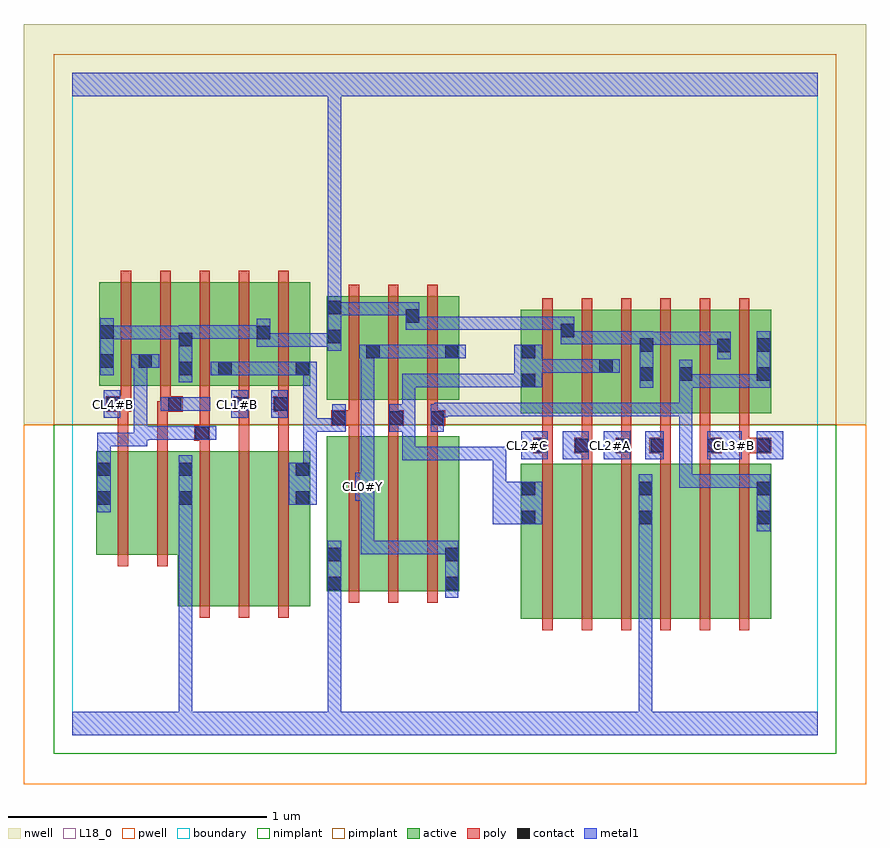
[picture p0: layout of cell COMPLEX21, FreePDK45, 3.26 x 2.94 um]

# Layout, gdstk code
import gdstk
lib = gdstk.Library(unit=1e-6, precision=1e-09)
def R(c, l, rs):  # rectangles x0, y0, x1, y1
    for r in rs: c.add(gdstk.rectangle(r[:2], r[2:], *l))
def A(c, l, x, y, w, h, nx, ny, dx, dy):  # array of equal rectangles
    R(c, l, [(x+i*dx, y+j*dy, x+i*dx+w, y+j*dy+h) for i in range(nx) for j in range(ny)])
active = (1, 0)
pwell = (2, 0)
nwell = (3, 0)
nimplant = (4, 0)
pimplant = (5, 0)
poly = (9, 0)
contact = (10, 0)
metal1 = (11, 0)
L18_0 = (18, 0)
boundary = (235, 0)

complex21 = lib.new_cell('COMPLEX21')
R(complex21, active, [(1.732,0.45,1.792,1.05), (1.732,0.45,1.912,1.05), (1.912,0.45,2.064,1.05), (2.064,0.45,2.244,1.05), (2.184,0.45,2.368,1.05), (2.184,0.45,2.244,0.984), (2.368,0.45,2.52,1.05), (2.52,0.45,2.7,1.05), (2.64,0.45,2.7,1.05), (0.408,0.498,0.468,1.098), (0.408,0.498,0.588,1.098), (0.588,0.498,0.74,1.098), (0.74,0.498,0.92,1.098), (0.86,0.556,0.92,1.098), (0.984,0.556,1.044,1.156), (0.984,0.556,1.164,1.156), (1.164,0.556,1.316,1.156), (1.316,0.556,1.496,1.156), (1.436,0.556,1.496,1.156), (0.092,0.698,0.272,1.098), (0.092,0.698,0.152,1.098), (0.272,0.698,0.468,1.098), (1.732,1.244,1.792,1.644), (1.732,1.244,1.944,1.644), (1.884,1.244,1.944,1.644), (1.884,1.244,2.092,1.644), (2.032,1.244,2.248,1.644), (2.188,1.244,2.248,1.644), (2.188,1.244,2.4,1.644), (2.34,1.244,2.548,1.644), (2.488,1.244,2.7,1.644), (2.64,1.244,2.7,1.644), (0.984,1.296,1.044,1.696), (0.984,1.296,1.192,1.696), (1.132,1.296,1.344,1.696), (1.284,1.296,1.496,1.696), (1.436,1.296,1.496,1.644), (0.104,1.35,0.312,1.75), (0.104,1.35,0.164,1.644), (0.252,1.35,0.468,1.75), (0.252,1.35,0.312,1.644), (0.408,1.35,0.62,1.75), (0.408,1.35,0.468,1.644), (0.56,1.35,0.768,1.75), (0.56,1.35,0.62,1.644), (0.708,1.35,0.92,1.75), (0.708,1.35,0.768,1.644), (0.86,1.35,0.92,1.644), (2.34,1.366,2.4,1.644), (2.032,1.396,2.092,1.644), (1.132,1.452,1.192,1.644), (2.488,1.476,2.548,1.644), (1.284,1.572,1.344,1.696)])
R(complex21, pwell, [(-0.188,-0.188,3.068,1.2)])
R(complex21, nwell, [(-0.188,1.2,3.068,2.748)])
R(complex21, nimplant, [(-0.072,-0.072,2.952,1.2)])
R(complex21, pimplant, [(-0.072,1.2,2.952,2.632)])
A(complex21, poly, 1.816, 0.406, 0.04, 0.688, 6, 1, 0.152, 0)
A(complex21, poly, 0.492, 0.454, 0.04, 0.688, 3, 1, 0.152, 0)
A(complex21, poly, 1.068, 0.512, 0.04, 0.688, 3, 1, 0.152, 0)
A(complex21, poly, 1.816, 1.054, 0.04, 0.076, 6, 1, 0.152, 0)
A(complex21, poly, 1.816, 1.11, 0.04, 0.13, 6, 1, 0.152, 0)
A(complex21, poly, 1.068, 1.16, 0.04, 0.076, 3, 2, 0.152, 0.056)
A(complex21, poly, 1.816, 1.2, 0.04, 0.488, 6, 1, 0.152, 0)
A(complex21, poly, 1.068, 1.252, 0.04, 0.488, 3, 1, 0.152, 0)
A(complex21, poly, 0.188, 1.306, 0.04, 0.488, 5, 1, 0.152, 0)
R(complex21, poly, [(0.176,0.654,0.216,1.142), (0.328,0.654,0.368,1.142), (1.78,1.09,1.856,1.15), (1.94,1.09,2.008,1.15), (2.1,1.09,2.16,1.15), (2.23,1.09,2.312,1.15), (2.424,1.09,2.464,1.13), (2.424,1.09,2.464,1.13), (2.424,1.09,2.51,1.15), (2.576,1.09,2.616,1.13), (2.576,1.09,2.616,1.13), (2.576,1.09,2.7,1.15), (0.176,1.102,0.216,1.29), (0.328,1.102,0.368,1.29), (0.492,1.102,0.532,1.178), (0.644,1.102,0.684,1.29), (0.796,1.102,0.836,1.29), (1.816,1.11,1.856,1.15), (1.816,1.11,1.856,1.15), (1.968,1.11,2.008,1.15), (1.968,1.11,2.008,1.15), (2.12,1.11,2.16,1.15), (2.12,1.11,2.16,1.15), (2.272,1.11,2.312,1.15), (2.272,1.11,2.312,1.15), (0.472,1.138,0.532,1.198), (0.492,1.158,0.532,1.198), (0.492,1.158,0.532,1.198), (0.492,1.158,0.532,1.346), (1,1.196,1.108,1.256), (1.068,1.196,1.108,1.236), (1.068,1.196,1.108,1.236), (1.22,1.196,1.28,1.256), (1.372,1.196,1.412,1.236), (1.372,1.196,1.412,1.236), (1.372,1.196,1.44,1.256), (1.22,1.216,1.26,1.256), (1.22,1.216,1.26,1.256), (0.13,1.25,0.228,1.31), (0.176,1.25,0.216,1.29), (0.176,1.25,0.216,1.29), (0.328,1.25,0.38,1.29), (0.34,1.25,0.38,1.29), (0.34,1.25,0.426,1.31), (0.624,1.25,0.684,1.31), (0.776,1.25,0.836,1.31), (0.796,1.25,0.836,1.29), (0.796,1.25,0.836,1.29), (0.188,1.27,0.228,1.346), (0.34,1.27,0.38,1.346), (0.644,1.27,0.684,1.31), (0.644,1.27,0.684,1.31), (0.644,1.27,0.684,1.346), (0.796,1.27,0.836,1.346)])
A(complex21, contact, 1.784, 1.094, 0.052, 0.052, 3, 1, 0.16, 0)
R(complex21, contact, [(0.988,0.56,1.04,0.612), (1.44,0.56,1.492,0.612), (0.988,0.672,1.04,0.724), (1.44,0.672,1.492,0.724), (1.736,0.816,1.788,0.868), (2.188,0.816,2.24,0.868), (2.644,0.816,2.696,0.868), (0.096,0.89,0.148,0.942), (0.412,0.89,0.464,0.942), (0.864,0.89,0.916,0.942), (1.736,0.928,1.788,0.98), (2.188,0.928,2.24,0.98), (2.644,0.928,2.696,0.98), (0.096,1.002,0.148,1.054), (0.412,1.002,0.464,1.054), (0.864,1.002,0.916,1.054), (2.234,1.094,2.286,1.146), (2.454,1.094,2.506,1.146), (2.644,1.094,2.696,1.146), (0.476,1.142,0.528,1.194), (1.004,1.2,1.056,1.252), (1.224,1.2,1.276,1.252), (1.384,1.2,1.436,1.252), (0.134,1.254,0.186,1.306), (0.37,1.254,0.422,1.306), (0.628,1.254,0.68,1.306), (0.78,1.254,0.832,1.306), (1.736,1.344,1.788,1.396), (2.192,1.37,2.244,1.422), (2.344,1.37,2.396,1.422), (2.644,1.37,2.696,1.422), (0.412,1.392,0.464,1.444), (0.564,1.392,0.616,1.444), (0.864,1.392,0.916,1.444), (2.036,1.4,2.088,1.452), (0.108,1.42,0.16,1.472), (0.256,1.42,0.308,1.472), (1.136,1.456,1.188,1.508), (1.44,1.456,1.492,1.508), (1.736,1.456,1.788,1.508), (2.492,1.48,2.544,1.532), (2.192,1.482,2.244,1.534), (2.644,1.482,2.696,1.534), (0.412,1.504,0.464,1.556), (0.988,1.514,1.04,1.566), (0.712,1.53,0.764,1.582), (0.108,1.532,0.16,1.584), (1.888,1.538,1.94,1.59), (1.288,1.594,1.34,1.646), (0.988,1.626,1.04,1.678)])
A(complex21, metal1, 1.734, 1.066, 0.102, 0.108, 3, 1, 0.16, 0)
R(complex21, metal1, [(0,0,2.88,0.092), (0.412,0.04,0.464,0.914), (0.988,0.04,1.04,0.092), (0.988,0.04,1.04,0.092), (0.988,0.04,1.04,0.092), (0.988,0.04,1.04,0.092), (0.988,0.04,1.04,0.092), (0.988,0.04,1.04,0.092), (0.988,0.04,1.04,0.092), (0.988,0.04,1.04,0.092), (0.988,0.04,1.04,0.584), (2.188,0.04,2.24,0.84), (0.988,0.532,1.04,0.752), (1.44,0.532,1.492,0.752), (1.114,0.7,1.166,0.752), (1.114,0.7,1.326,0.752), (1.114,0.7,1.166,0.958), (1.274,0.7,1.326,0.752), (1.274,0.7,1.326,0.752), (1.274,0.7,1.326,0.752), (1.274,0.7,1.492,0.752), (1.44,0.7,1.492,0.752), (1.44,0.7,1.492,0.752), (2.188,0.788,2.24,0.84), (2.188,0.788,2.24,0.84), (2.188,0.788,2.24,0.84), (2.188,0.788,2.24,0.84), (2.188,0.788,2.24,0.84), (2.188,0.788,2.24,0.84), (2.188,0.788,2.24,0.84), (2.188,0.788,2.24,0.84), (2.188,0.788,2.24,1.008), (2.644,0.788,2.696,1.008), (1.624,0.816,1.816,0.98), (0.096,0.862,0.148,1.082), (0.412,0.862,0.464,0.914), (0.412,0.862,0.464,0.914), (0.412,0.862,0.464,0.914), (0.412,0.862,0.464,0.914), (0.412,0.862,0.464,0.914), (0.412,0.862,0.464,0.914), (0.412,0.862,0.464,0.914), (0.412,0.862,0.464,0.914), (0.412,0.862,0.464,1.082), (0.836,0.89,0.944,1.054), (1.094,0.906,1.166,1.014), (1.624,0.928,1.676,1.114), (2.344,0.956,2.396,1.008), (2.344,0.956,2.586,1.008), (2.344,0.956,2.396,1.284), (2.534,0.956,2.586,1.008), (2.534,0.956,2.586,1.008), (2.534,0.956,2.586,1.008), (2.534,0.956,2.696,1.008), (2.644,0.956,2.696,1.008), (2.644,0.956,2.696,1.008), (2.644,0.956,2.696,1.008), (2.644,0.956,2.696,1.008), (1.114,0.962,1.166,1.508), (0.892,1.002,0.944,1.054), (0.892,1.002,0.944,1.054), (0.892,1.002,0.944,1.224), (0.096,1.03,0.148,1.168), (1.274,1.062,1.326,1.224), (1.274,1.062,1.566,1.114), (1.514,1.062,1.566,1.114), (1.514,1.062,1.566,1.114), (1.514,1.062,1.566,1.114), (1.514,1.062,1.676,1.114), (1.624,1.062,1.676,1.114), (2.214,1.066,2.286,1.174), (2.454,1.066,2.586,1.174), (2.644,1.066,2.746,1.174), (0.096,1.116,0.148,1.168), (0.096,1.116,0.148,1.168), (0.096,1.116,0.148,1.168), (0.096,1.116,0.29,1.168), (0.238,1.116,0.29,1.192), (0.238,1.14,0.29,1.192), (0.238,1.14,0.29,1.192), (0.238,1.14,0.296,1.192), (0.238,1.14,0.29,1.472), (0.244,1.14,0.296,1.194), (0.244,1.142,0.464,1.194), (0.412,1.142,0.464,1.194), (0.412,1.142,0.5,1.194), (0.448,1.142,0.556,1.194), (0.892,1.172,0.944,1.224), (0.892,1.172,0.944,1.224), (0.892,1.172,0.944,1.224), (0.892,1.172,1.056,1.224), (0.892,1.172,0.944,1.444), (1.004,1.172,1.056,1.28), (1.224,1.172,1.276,1.28), (1.224,1.172,1.326,1.224), (1.274,1.172,1.326,1.396), (1.384,1.172,1.436,1.28), (0.122,1.226,0.186,1.334), (0.614,1.226,0.68,1.334), (0.768,1.226,0.832,1.334), (1.384,1.228,1.45,1.28), (1.398,1.228,1.45,1.284), (1.398,1.232,1.83,1.284), (1.778,1.232,1.83,1.284), (1.778,1.232,1.83,1.284), (1.778,1.232,1.83,1.284), (1.778,1.232,1.95,1.284), (1.898,1.232,1.95,1.284), (1.898,1.232,1.95,1.284), (1.898,1.232,1.95,1.284), (1.898,1.232,2.13,1.284), (2.078,1.232,2.13,1.284), (2.078,1.232,2.13,1.284), (2.078,1.232,2.13,1.284), (2.078,1.232,2.24,1.284), (2.188,1.232,2.24,1.284), (2.188,1.232,2.24,1.284), (2.188,1.232,2.24,1.284), (2.188,1.232,2.396,1.284), (2.344,1.232,2.396,1.284), (2.344,1.232,2.396,1.394), (0.342,1.254,0.534,1.306), (2.192,1.342,2.244,1.562), (2.344,1.342,2.396,1.394), (2.344,1.342,2.396,1.394), (2.344,1.342,2.396,1.45), (2.344,1.342,2.586,1.394), (2.534,1.342,2.586,1.394), (2.534,1.342,2.696,1.394), (2.644,1.342,2.696,1.394), (2.644,1.342,2.696,1.394), (2.644,1.342,2.696,1.562), (1.274,1.344,1.326,1.396), (1.274,1.344,1.326,1.396), (1.274,1.344,1.326,1.396), (1.274,1.344,1.566,1.396), (1.514,1.344,1.566,1.396), (1.514,1.344,1.566,1.396), (1.514,1.344,1.566,1.396), (1.514,1.344,1.76,1.396), (1.708,1.344,1.816,1.508), (0.412,1.364,0.464,1.584), (0.108,1.392,0.16,1.612), (0.536,1.392,0.644,1.444), (0.592,1.392,0.644,1.444), (0.592,1.392,0.644,1.444), (0.592,1.392,0.76,1.444), (0.708,1.392,0.76,1.444), (0.708,1.392,0.76,1.444), (0.708,1.392,0.76,1.444), (0.708,1.392,0.888,1.444), (0.836,1.392,0.944,1.444), (1.764,1.4,1.816,1.452), (1.764,1.4,1.816,1.452), (1.764,1.4,1.95,1.452), (1.898,1.4,1.95,1.452), (1.898,1.4,1.95,1.452), (1.898,1.4,1.95,1.452), (1.898,1.4,2.06,1.452), (2.008,1.4,2.116,1.452), (0.228,1.42,0.336,1.472), (2.492,1.452,2.544,1.56), (1.108,1.456,1.216,1.508), (1.114,1.456,1.166,1.508), (1.114,1.456,1.166,1.508), (1.164,1.456,1.216,1.508), (1.164,1.456,1.216,1.508), (1.164,1.456,1.326,1.508), (1.274,1.456,1.326,1.508), (1.274,1.456,1.326,1.508), (1.274,1.456,1.326,1.508), (1.274,1.456,1.464,1.508), (1.412,1.456,1.464,1.508), (1.412,1.456,1.464,1.508), (1.412,1.456,1.52,1.508), (0.988,1.486,1.04,1.706), (0.712,1.502,0.764,1.554), (0.712,1.502,0.764,1.554), (0.712,1.502,0.764,1.61), (0.712,1.502,0.944,1.554), (0.892,1.502,0.944,1.554), (0.892,1.502,1.04,1.554), (2.192,1.508,2.244,1.56), (2.192,1.508,2.244,1.56), (2.192,1.508,2.434,1.56), (2.382,1.508,2.434,1.56), (2.382,1.508,2.544,1.56), (2.492,1.508,2.544,1.56), (2.492,1.508,2.544,1.56), (1.888,1.51,1.94,1.562), (1.888,1.51,1.94,1.562), (1.888,1.51,1.94,1.618), (1.888,1.51,2.06,1.562), (2.008,1.51,2.06,1.562), (2.008,1.51,2.06,1.562), (2.008,1.51,2.06,1.562), (2.008,1.51,2.244,1.562), (0.108,1.53,0.16,1.582), (0.108,1.53,0.16,1.582), (0.108,1.53,0.354,1.582), (0.302,1.53,0.354,1.582), (0.302,1.53,0.354,1.582), (0.302,1.53,0.354,1.582), (0.302,1.53,0.464,1.582), (0.412,1.532,0.464,1.584), (0.412,1.532,0.464,1.584), (0.412,1.532,0.574,1.584), (0.522,1.532,0.574,1.584), (0.522,1.532,0.574,1.584), (0.522,1.532,0.574,1.584), (0.522,1.532,0.764,1.584), (1.288,1.566,1.34,1.674), (1.288,1.566,1.566,1.618), (1.514,1.566,1.566,1.618), (1.514,1.566,1.566,1.618), (1.514,1.566,1.566,1.618), (1.514,1.566,1.83,1.618), (1.778,1.566,1.83,1.618), (1.778,1.566,1.83,1.618), (1.778,1.566,1.83,1.618), (1.778,1.566,1.94,1.618), (0.988,1.622,1.166,1.674), (1.114,1.622,1.166,1.674), (1.114,1.622,1.166,1.674), (1.114,1.622,1.166,1.674), (1.114,1.622,1.326,1.674), (1.274,1.622,1.326,1.674), (1.274,1.622,1.34,1.674), (0.988,1.654,1.04,1.706), (0.988,1.654,1.04,1.706), (0.988,1.654,1.04,1.706), (0.988,1.654,1.04,1.706), (0.988,1.654,1.04,1.706), (0.988,1.654,1.04,1.706), (0.988,1.654,1.04,1.706), (0.988,1.654,1.04,1.706), (0.988,1.654,1.04,1.706), (0.988,1.654,1.04,1.706), (0.988,1.654,1.04,1.706), (0.988,1.654,1.04,1.706), (0.988,1.654,1.04,1.706), (0.988,1.654,1.04,1.706), (0.988,1.654,1.04,1.706), (0.988,1.654,1.04,1.706), (0.988,1.654,1.04,2.52), (0,2.468,2.88,2.56)])
A(complex21, L18_0, 1.734, 1.066, 0.102, 0.108, 3, 1, 0.16, 0)
A(complex21, L18_0, 1.734, 1.094, 0.052, 0.052, 4, 1, 0.16, 0)
A(complex21, L18_0, 0.454, 1.254, 0.052, 0.052, 3, 1, 0.16, 0)
R(complex21, L18_0, [(0,0,2.88,0.092), (0.412,0.04,0.464,0.914), (0.988,0.04,1.04,0.092), (0.988,0.04,1.04,0.092), (0.988,0.04,1.04,0.092), (0.988,0.04,1.04,0.092), (0.988,0.04,1.04,0.092), (0.988,0.04,1.04,0.092), (0.988,0.04,1.04,0.092), (0.988,0.04,1.04,0.092), (0.988,0.04,1.04,0.584), (2.188,0.04,2.24,0.84), (0.988,0.532,1.04,0.752), (1.44,0.532,1.492,0.752), (1.114,0.7,1.166,0.752), (1.114,0.7,1.166,0.958), (1.114,0.7,1.326,0.752), (1.274,0.7,1.326,0.752), (1.274,0.7,1.326,0.752), (1.274,0.7,1.326,0.752), (1.274,0.7,1.492,0.752), (1.44,0.7,1.492,0.752), (1.44,0.7,1.492,0.752), (2.188,0.788,2.24,1.008), (2.188,0.788,2.24,0.84), (2.188,0.788,2.24,0.84), (2.188,0.788,2.24,0.84), (2.188,0.788,2.24,0.84), (2.188,0.788,2.24,0.84), (2.188,0.788,2.24,0.84), (2.188,0.788,2.24,0.84), (2.188,0.788,2.24,0.84), (0.412,0.862,0.464,1.082), (0.412,0.862,0.464,0.914), (0.412,0.862,0.464,0.914), (0.412,0.862,0.464,0.914), (0.412,0.862,0.464,0.914), (0.412,0.862,0.464,0.914), (0.412,0.862,0.464,0.914), (0.412,0.862,0.464,0.914), (0.412,0.862,0.464,0.914), (1.094,0.906,1.166,1.014), (1.094,0.934,1.146,0.986), (1.114,0.962,1.166,1.508), (2.214,1.066,2.286,1.174), (2.454,1.066,2.586,1.174), (2.644,1.066,2.746,1.174), (2.534,1.094,2.586,1.146), (2.694,1.094,2.746,1.146), (0.122,1.226,0.186,1.334), (0.614,1.226,0.68,1.334), (0.768,1.226,0.832,1.334), (0.134,1.254,0.186,1.306), (0.342,1.254,0.534,1.306), (2.192,1.342,2.244,1.562), (0.412,1.364,0.464,1.584), (0.108,1.392,0.16,1.612), (2.492,1.452,2.544,1.56), (1.108,1.456,1.216,1.508), (1.114,1.456,1.166,1.508), (1.114,1.456,1.166,1.508), (1.164,1.456,1.216,1.508), (1.164,1.456,1.216,1.508), (1.164,1.456,1.326,1.508), (1.274,1.456,1.326,1.508), (1.274,1.456,1.326,1.508), (1.274,1.456,1.326,1.508), (1.274,1.456,1.464,1.508), (1.412,1.456,1.464,1.508), (1.412,1.456,1.464,1.508), (1.412,1.456,1.52,1.508), (0.988,1.486,1.04,1.706), (0.712,1.502,0.764,1.554), (0.712,1.502,0.764,1.554), (0.712,1.502,0.764,1.61), (0.712,1.502,0.944,1.554), (0.892,1.502,0.944,1.554), (0.892,1.502,1.04,1.554), (2.192,1.508,2.244,1.56), (2.192,1.508,2.244,1.56), (2.192,1.508,2.434,1.56), (2.382,1.508,2.434,1.56), (2.382,1.508,2.544,1.56), (2.492,1.508,2.544,1.56), (2.492,1.508,2.544,1.56), (1.888,1.51,1.94,1.562), (1.888,1.51,1.94,1.562), (1.888,1.51,1.94,1.618), (1.888,1.51,2.06,1.562), (2.008,1.51,2.06,1.562), (2.008,1.51,2.06,1.562), (2.008,1.51,2.06,1.562), (2.008,1.51,2.244,1.562), (0.108,1.53,0.16,1.582), (0.108,1.53,0.16,1.582), (0.108,1.53,0.354,1.582), (0.302,1.53,0.354,1.582), (0.302,1.53,0.354,1.582), (0.302,1.53,0.354,1.582), (0.302,1.53,0.464,1.582), (0.412,1.532,0.464,1.584), (0.412,1.532,0.464,1.584), (0.412,1.532,0.574,1.584), (0.522,1.532,0.574,1.584), (0.522,1.532,0.574,1.584), (0.522,1.532,0.574,1.584), (0.522,1.532,0.764,1.584), (1.288,1.566,1.34,1.674), (1.288,1.566,1.566,1.618), (1.514,1.566,1.566,1.618), (1.514,1.566,1.566,1.618), (1.514,1.566,1.566,1.618), (1.514,1.566,1.83,1.618), (1.778,1.566,1.83,1.618), (1.778,1.566,1.83,1.618), (1.778,1.566,1.83,1.618), (1.778,1.566,1.94,1.618), (0.988,1.622,1.166,1.674), (1.114,1.622,1.166,1.674), (1.114,1.622,1.166,1.674), (1.114,1.622,1.166,1.674), (1.114,1.622,1.326,1.674), (1.274,1.622,1.326,1.674), (1.274,1.622,1.34,1.674), (0.988,1.654,1.04,1.706), (0.988,1.654,1.04,1.706), (0.988,1.654,1.04,1.706), (0.988,1.654,1.04,1.706), (0.988,1.654,1.04,1.706), (0.988,1.654,1.04,1.706), (0.988,1.654,1.04,1.706), (0.988,1.654,1.04,1.706), (0.988,1.654,1.04,1.706), (0.988,1.654,1.04,1.706), (0.988,1.654,1.04,1.706), (0.988,1.654,1.04,1.706), (0.988,1.654,1.04,1.706), (0.988,1.654,1.04,1.706), (0.988,1.654,1.04,1.706), (0.988,1.654,1.04,1.706), (0.988,1.654,1.04,2.52), (0,2.468,2.88,2.56)])
R(complex21, boundary, [(0,0,2.88,2.56)])
complex21.add(gdstk.Label('CL0#Y', (1.12,0.96), layer=11, texttype=0))
complex21.add(gdstk.Label('CL1#B', (0.64,1.28), layer=11, texttype=0))
complex21.add(gdstk.Label('CL1#C', (0.8,1.28), layer=11, texttype=0))
complex21.add(gdstk.Label('CL2#A', (2.08,1.12), layer=11, texttype=0))
complex21.add(gdstk.Label('CL2#B', (1.92,1.12), layer=11, texttype=0))
complex21.add(gdstk.Label('CL2#C', (1.76,1.12), layer=11, texttype=0))
complex21.add(gdstk.Label('CL3#A', (2.24,1.12), layer=11, texttype=0))
complex21.add(gdstk.Label('CL3#B', (2.56,1.12), layer=11, texttype=0))
complex21.add(gdstk.Label('CL3#C', (2.72,1.12), layer=11, texttype=0))
complex21.add(gdstk.Label('CL4#A', (0.48,1.28), layer=11, texttype=0))
complex21.add(gdstk.Label('CL4#B', (0.16,1.28), layer=11, texttype=0))

lib.write_gds('COMPLEX21.gds')
